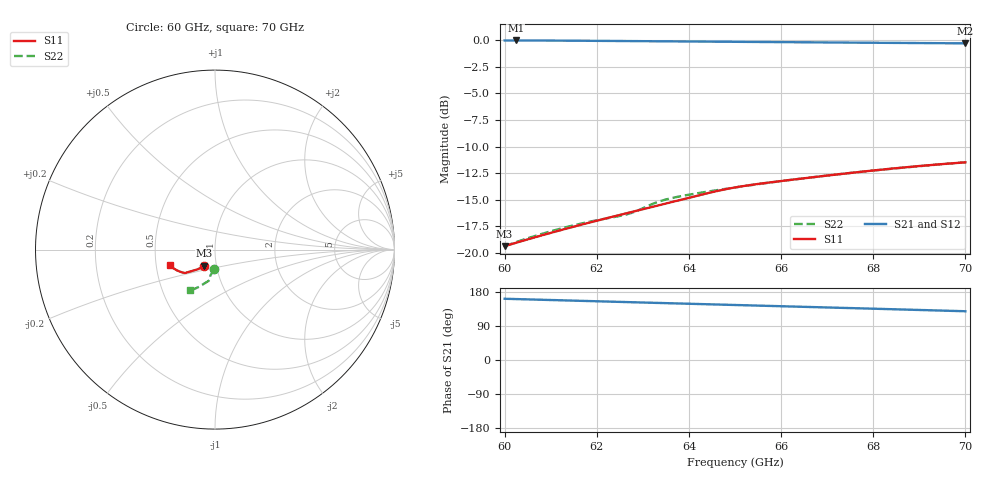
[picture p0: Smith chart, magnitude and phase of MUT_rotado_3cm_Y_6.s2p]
! TOUCHSTONE file generated by CST MICROWAVE STUDIO
! Date and time: Wed Feb 21 09:08:43 2024
! Project name: material_prueba.cst
! Parameters = {Y=1.25}
! Header version: 2018
! Port assignment regex: !\s*Touchstone port\s*([0-9]+)\s*=\s*(CST MWS port|CST DS port)\s*([0-9]+|Zmin|Zmax)\s*\(\"(.*)\"\)(\s*mode\s*([0-9]+))?.*
! Touchstone port assignment:
! Touchstone port 1 = CST MWS port 1 ("")
! Touchstone port 2 = CST MWS port 2 ("")
# GHz S MA R 376.7
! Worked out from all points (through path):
!   1001 points, 60 GHz to 70 GHz, reference 376.7 ohm
!   highest |S21| = -0.05 dB at 60.24 GHz (marker M1); lowest = -0.3 dB at 70 GHz (marker M2)
!   group delay of S21, straight-line fit = 9.08 ps
!   lowest |S11| = -19.3 dB at 60 GHz (marker M3), VSWR 1.24, Z = 328 - j59.1 ohm
!   |S11| at or under -10 dB: start of sweep to end of sweep
!   |S22| runs from -19.3 to -11.5 dB; largest |S21 - S12| = 0
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60  0.1078 -124.4  0.9942 161.6  0.9942 161.6  0.1078 -92.4
60.24  0.1117 -125.0  0.9943 160.8  0.9943 160.8  0.1124 -93.4
60.6  0.1177 -126.1  0.9941 159.6  0.9941 159.6  0.1193 -94.9
60.96  0.1237 -127.1  0.9934 158.3  0.9934 158.3  0.1259 -96.3
61.32  0.1299 -128.3  0.9924 157.1  0.9924 157.1  0.1321 -97.7
61.67  0.136 -129.4  0.9912 156.0  0.9912 156.0  0.1378 -98.8
62.24  0.1463 -131.5  0.9891 154.1  0.9891 154.1  0.1458 -100.1
62.5  0.1511 -132.5  0.9882 153.3  0.9882 153.3  0.1493 -100.1
62.67  0.1542 -133.1  0.9875 152.7  0.9875 152.7  0.1524 -99.7
62.83  0.1573 -133.7  0.9869 152.2  0.9869 152.2  0.1565 -99.3
63.01  0.1608 -134.4  0.9862 151.6  0.9862 151.6  0.1627 -99.3
63.19  0.1643 -135.2  0.9856 151.1  0.9856 151.1  0.1694 -99.9
63.34  0.1674 -135.8  0.985 150.6  0.985 150.6  0.1743 -100.8
63.57  0.1722 -136.7  0.9841 149.8  0.9841 149.8  0.18 -102.4
63.88  0.179 -137.9  0.983 148.8  0.983 148.8  0.1859 -104.2
64.54  0.194 -139.9  0.9807 146.7  0.9807 146.7  0.1964 -107.0
65  0.2032 -140.9  0.9791 145.2  0.9791 145.2  0.2032 -108.7
65.74  0.2144 -142.9  0.9767 142.8  0.9767 142.8  0.214 -111.0
66.67  0.2267 -146.5  0.9739 139.8  0.9739 139.8  0.2268 -113.6
68.34  0.2483 -153.8  0.9688 134.2  0.9688 134.2  0.248 -117.8
69.21  0.2585 -157.7  0.9662 131.3  0.9662 131.3  0.2581 -119.9
70  0.2667 -161.1  0.9638 128.6  0.9638 128.6  0.2667 -121.6
